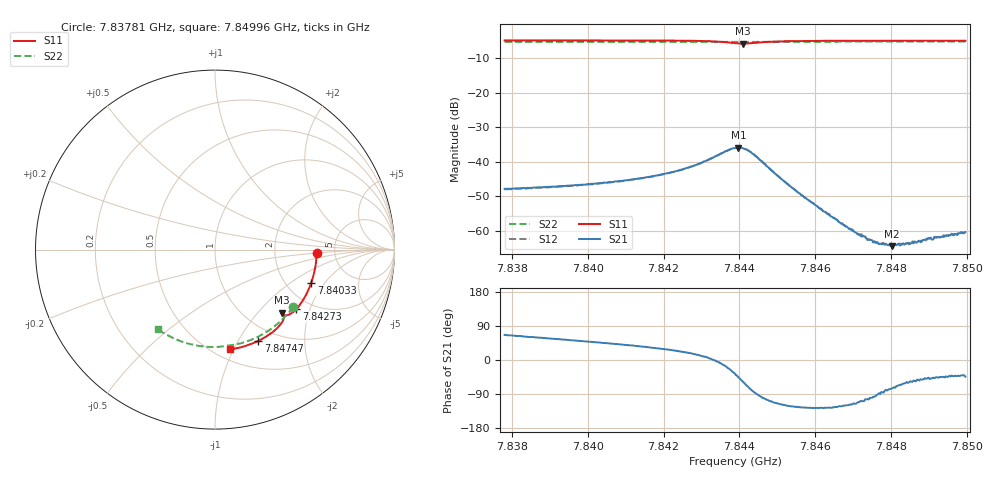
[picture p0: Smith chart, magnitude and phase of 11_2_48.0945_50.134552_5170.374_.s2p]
#  HZ  S  RI  R  50.00
! Rohde & Schwarz Vector Network Analyzer
! Rohde-Schwarz,ZNB20-2Port,1311601062101988,3.16
! Created: UTC 12/23/2023, 3:35:39 AM
! freq[Hz]  re:S11  im:S11  re:S21  im:S21  re:S12  im:S12  re:S22  im:S22
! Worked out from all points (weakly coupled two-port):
!   401 points, 7.83781 GHz to 7.84996 GHz, reference 50 ohm
!   highest |S21| = -35.89 dB at 7.84397 GHz (marker M1); lowest = -64.4 dB at 7.84802 GHz (marker M2)
!   lowest |S11| = -5.8 dB at 7.8441 GHz (marker M3), VSWR 3.09, Z = 71.1 - j67.8 ohm
!   |S11| at or under -10 dB: nowhere
!   |S22| runs from -5.4 to -5.3 dB; largest |S21 - S12| = 0.00028
!   S11 on the Smith chart (normalised r, x): 7.83781 GHz: 3.60, -0.20; 7.84033 GHz: 2.72, -1.48; 7.84273 GHz: 1.68, -1.62; 7.84747 GHz: 0.82, -1.22; 7.84996 GHz: 0.59, -0.97
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7.837808e9  0.5664 -0.0192  0.00163 0.00372  0.00164 0.00364  0.4363 -0.3182
7.839843e9  0.546 -0.1534  0.00301 0.00356  0.00297 0.00352  0.3385 -0.4216
7.840329e9  0.5361 -0.1847  0.00341 0.00352  0.00339 0.00351  0.3115 -0.4424
7.841879e9  0.4906 -0.281  0.00555 0.00325  0.00548 0.00327  0.2171 -0.4961
7.842729e9  0.453 -0.3313  0.00814 0.00257  0.00808 0.00259  0.161 -0.5172
7.843428e9  0.407 -0.3643  0.0124 -0.00103  0.0123 -0.000983  0.1131 -0.5288
7.843884e9  0.373 -0.3611  0.0127 -0.00938  0.0126 -0.00939  0.0827 -0.5328
7.843975e9  0.3705 -0.3565  0.0113 -0.0114  0.0113 -0.0114  0.0769 -0.5334
7.844096e9  0.3712 -0.3519  0.00836 -0.0132  0.00825 -0.0132  0.0693 -0.5345
7.844248e9  0.3768 -0.3511  0.00432 -0.0137  0.00432 -0.0138  0.06 -0.5362
7.8444e9  0.3826 -0.3567  0.000837 -0.0124  0.000993 -0.0124  0.0498 -0.538
7.845251e9  0.366 -0.4151  -0.00244 -0.00419  -0.00243 -0.00423  -0.00956 -0.543
7.845919e9  0.3321 -0.4504  -0.00152 -0.00204  -0.00154 -0.00205  -0.057 -0.5408
7.846739e9  0.2857 -0.484  -0.000618 -0.00105  -0.00062 -0.00106  -0.1139 -0.5323
7.847104e9  0.2641 -0.4967  -0.000353 -0.000838  -0.000355 -0.000854  -0.139 -0.5264
7.847469e9  0.242 -0.5081  -0.000127 -0.000732  -9.95e-05 -0.00072  -0.1636 -0.5197
7.847681e9  0.229 -0.5143  2.43e-05 -0.000645  1.03e-05 -0.000665  -0.1781 -0.5151
7.847955e9  0.2121 -0.5216  0.00014 -0.000602  0.000175 -0.000606  -0.196 -0.5088
7.848015e9  0.2083 -0.5231  0.000153 -0.000583  0.000151 -0.000618  -0.2 -0.5071
7.848653e9  0.1679 -0.5374  0.000379 -0.000568  0.000387 -0.000558  -0.241 -0.4893
7.848987e9  0.1465 -0.5436  0.000547 -0.000578  0.000497 -0.000594  -0.2619 -0.4787
7.84996e9  0.0829 -0.5564  0.000693 -0.00067  0.000699 -0.000674  -0.3199 -0.4428
